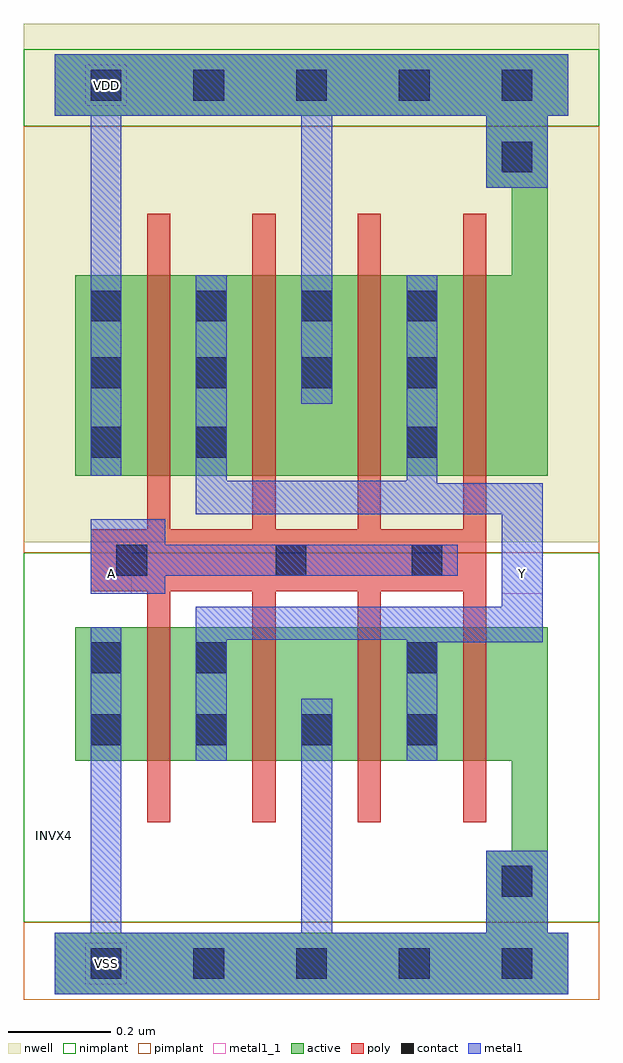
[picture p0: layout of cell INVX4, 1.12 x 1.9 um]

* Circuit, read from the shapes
.subckt INVX4 A VDD VSS Y
M1 Y A VSS VSS nfet w=0.26u l=0.045u m=4
M2 Y A VDD VDD pfet w=0.39u l=0.045u m=4
.ends

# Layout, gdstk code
import gdstk
lib = gdstk.Library(unit=1e-6, precision=5e-10)
def R(c, l, rs):  # rectangles x0, y0, x1, y1
    for r in rs: c.add(gdstk.rectangle(r[:2], r[2:], *l))
def A(c, l, x, y, w, h, nx, ny, dx, dy):  # array of equal rectangles
    R(c, l, [(x+i*dx, y+j*dy, x+i*dx+w, y+j*dy+h) for i in range(nx) for j in range(ny)])
def P(c, l, *ps):  # polygons
    for p in ps: c.add(gdstk.Polygon(p, *l))
active = (1, 0)
nwell = (2, 0)
poly = (3, 0)
nimplant = (4, 0)
pimplant = (5, 0)
contact = (6, 0)
metal1 = (7, 0)
metal1_1 = (7, 1)

invx4 = lib.new_cell('INVX4')
P(invx4, active, [(1,0.06),(0.96,0.06),(0.96,0.655),(0.04,0.655),(0.04,0.395),(0.89,0.395),(0.89,0.22),(0.84,0.22),(0.84,0.06),(0,0.06),(0,-0.06),(1,-0.06)],
  [(1,1.77),(0,1.77),(0,1.65),(0.84,1.65),(0.84,1.51),(0.89,1.51),(0.89,1.34),(0.04,1.34),(0.04,0.95),(0.96,0.95),(0.96,1.65),(1,1.65)])
R(invx4, nwell, [(-0.06,0.82,1.06,1.83)])
P(invx4, poly, [(0.84,1.46),(0.795,1.46),(0.795,0.845),(0.635,0.845),(0.635,1.46),(0.59,1.46),(0.59,0.845),(0.43,0.845),(0.43,1.46),(0.385,1.46),(0.385,0.845),(0.225,0.845),(0.225,1.46),(0.18,1.46),(0.18,0.845),(0.07,0.845),(0.07,0.725),(0.18,0.725),(0.18,0.275),(0.225,0.275),(0.225,0.725),(0.385,0.725),(0.385,0.275),(0.43,0.275),(0.43,0.725),(0.59,0.725),(0.59,0.275),(0.635,0.275),(0.635,0.725),(0.795,0.725),(0.795,0.275),(0.84,0.275)])
R(invx4, nimplant, [(-0.06,0.08,1.06,0.8), (-0.06,1.63,1.06,1.78)])
R(invx4, pimplant, [(-0.06,-0.07,1.06,0.08), (-0.06,0.8,1.06,1.63)])
A(invx4, contact, 0.07, -0.03, 0.06, 0.06, 5, 2, 0.2, 1.71)
A(invx4, contact, 0.07, 0.425, 0.06, 0.06, 4, 2, 0.205, 0.695)
A(invx4, contact, 0.07, 1.25, 0.06, 0.06, 4, 1, 0.205, 0)
R(invx4, contact, [(0.87,0.13,0.93,0.19), (0.07,0.565,0.13,0.625), (0.275,0.565,0.335,0.625), (0.685,0.565,0.745,0.625), (0.12,0.755,0.18,0.815), (0.43,0.755,0.49,0.815), (0.695,0.755,0.755,0.815), (0.07,0.985,0.13,1.045), (0.275,0.985,0.335,1.045), (0.685,0.985,0.745,1.045), (0.87,1.54,0.93,1.6)])
P(invx4, metal1, [(0.95,0.935),(0.745,0.935),(0.745,1.34),(0.685,1.34),(0.685,0.94),(0.335,0.94),(0.335,1.34),(0.275,1.34),(0.275,0.875),(0.87,0.875),(0.87,0.695),(0.275,0.695),(0.275,0.395),(0.335,0.395),(0.335,0.63),(0.685,0.63),(0.685,0.395),(0.745,0.395),(0.745,0.625),(0.95,0.625)],
  [(1,0.06),(0.96,0.06),(0.96,0.22),(0.84,0.22),(0.84,0.06),(0.54,0.06),(0.54,0.515),(0.48,0.515),(0.48,0.06),(0.13,0.06),(0.13,0.655),(0.07,0.655),(0.07,0.06),(0,0.06),(0,-0.06),(1,-0.06)],
  [(1,1.77),(0,1.77),(0,1.65),(0.07,1.65),(0.07,0.95),(0.13,0.95),(0.13,1.65),(0.48,1.65),(0.48,1.09),(0.54,1.09),(0.54,1.65),(0.84,1.65),(0.84,1.51),(0.96,1.51),(0.96,1.65),(1,1.65)],
  [(0.785,0.815),(0.215,0.815),(0.215,0.865),(0.07,0.865),(0.07,0.72),(0.215,0.72),(0.215,0.755),(0.785,0.755)])
R(invx4, metal1_1, [(0.06,-0.04,0.14,0.04), (0.07,0.72,0.15,0.8), (0.87,0.72,0.95,0.8), (0.06,1.67,0.14,1.75)])
invx4.add(gdstk.Label('INVX4', (0,0.25), layer=63, texttype=0))
invx4.add(gdstk.Label('VSS', (0.1,0), layer=7, texttype=1))
invx4.add(gdstk.Label('VDD', (0.1,1.71), layer=7, texttype=1))
invx4.add(gdstk.Label('A', (0.11,0.76), layer=7, texttype=1))
invx4.add(gdstk.Label('Y', (0.91,0.76), layer=7, texttype=1))

lib.write_gds('INVX4.gds')
